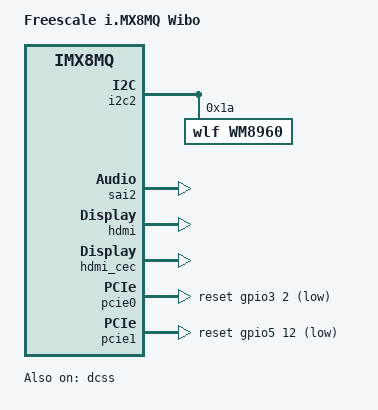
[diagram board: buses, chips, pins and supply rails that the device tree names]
/*
 * Copyright 2018 NXP
 *
 * This program is free software; you can redistribute it and/or
 * modify it under the terms of the GNU General Public License
 * as published by the Free Software Foundation; either version 2
 * of the License, or (at your option) any later version.
 *
 * This program is distributed in the hope that it will be useful,
 * but WITHOUT ANY WARRANTY; without even the implied warranty of
 * MERCHANTABILITY or FITNESS FOR A PARTICULAR PURPOSE.  See the
 * GNU General Public License for more details.
 */

#include "fsl-imx8mq-som.dtsi"

/ {
	firmware {
		android {
			compatible = "android,firmware";
			fstab {
				compatible = "android,fstab";
				vendor {
					compatible = "android,vendor";
					/* if sd, then dev = "/dev/block/platform/30b50000.usdhc/by-name/vendor"; */
					dev = "/dev/block/platform/30b40000.usdhc/by-name/vendor";
					type = "ext4";
					mnt_flags = "ro,barrier=1,inode_readahead_blks=8";
					fsmgr_flags = "wait,slotselect,avb";
				};
			};
			vbmeta {
				/*we need use FirstStageMountVBootV2 if we enable avb*/
				compatible = "android,vbmeta";
				/*parts means the partition witch can be mount in first stage*/
				parts = "vbmeta,boot,system,vendor";
			};
		};
	};
};

/ {
	model = "Freescale i.MX8MQ Wibo";
	compatible = "fsl,imx8mq-wibo", "fsl,imx8mq";

	sound: sound {
		compatible = "fsl,imx7d-evk-wm8960",
				"fsl,imx-audio-wm8960";
	model = "wm8960-audio";
	cpu-dai = <&sai2>;
	audio-codec = <&wm8960>;
	codec-master;
	/*
	 * hp-det = <hp-det-pin hp-det-polarity>;
	 * hp-det-pin: JD1 JD2  or JD3
	 * hp-det-polarity = 0: hp detect high for headphone
	 * hp-det-polarity = 1: hp detect high for speaker
	 */
	hp-det = <2 0>;
	audio-routing =
		"Headphone Jack", "HP_L",
		"Headphone Jack", "HP_R",
		"Ext Spk", "SPK_LP",
		"Ext Spk", "SPK_LN",
		"Ext Spk", "SPK_RP",
		"Ext Spk", "SPK_RN",
		"LINPUT2", "Mic Jack",
		"LINPUT3", "Mic Jack",
		"RINPUT1", "Main MIC",
		"RINPUT2", "Main MIC",
		"Mic Jack", "MICB",
		"Main MIC", "MICB",
		"Playback", "CPU-Playback",
		"CPU-Capture", "Capture";
	};
};

&i2c2 {
  status = "okay";

	wm8960: wm8960@1a {
		compatible = "wlf,wm8960";
		reg = <0x1a>;
		status = "okay";
		clocks = <&clk IMX8MQ_CLK_SAI2_ROOT>;
		clock-names = "mclk";
		wlf,shared-lrclk;
	};
};

&sai2 {
	pinctrl-names = "default";
	pinctrl-0 = <&pinctrl_sai2>;
	assigned-clocks = <&clk IMX8MQ_CLK_SAI2_SRC>,
			<&clk IMX8MQ_CLK_SAI2_DIV>;
	assigned-clock-parents = <&clk IMX8MQ_AUDIO_PLL1_OUT>;
	assigned-clock-rates = <0>, <24576000>;
	status = "okay";
};

&iomuxc {
	pinctrl-names = "default";
	pinctrl-0 = <&pinctrl_hog>;

	imx8mq-evk {
		pinctrl_sai2: sai2grp {
			fsl,pins = <
				MX8MQ_IOMUXC_SAI2_TXFS_SAI2_TX_SYNC	0xd6
				MX8MQ_IOMUXC_SAI2_TXC_SAI2_TX_BCLK	0xd6
				MX8MQ_IOMUXC_SAI2_MCLK_SAI2_MCLK	0xd6
				MX8MQ_IOMUXC_SAI2_TXD0_SAI2_TX_DATA0	0xd6
				MX8MQ_IOMUXC_SAI2_RXD0_SAI2_RX_DATA0	0xd6
			>;
		};
		pinctrl_pcie0_wibo: pcie0grp_wibo {
			fsl,pins = <
				MX8MQ_IOMUXC_NAND_CE3_B_GPIO3_IO4       0x16 /* Disable - wl_regon */
				MX8MQ_IOMUXC_NAND_CE1_B_GPIO3_IO2       0x16 /* Reset */
				MX8MQ_IOMUXC_NAND_DATA00_GPIO3_IO6      0x19
			>;
		};
		pinctrl_pcie1_wibo: pcie1grp_wibo{
			fsl,pins = <
				MX8MQ_IOMUXC_I2C4_SDA_GPIO5_IO21	0x16 /* PCIE2_nCLKREQ */
				MX8MQ_IOMUXC_ECSPI2_MOSI_GPIO5_IO11	0x16 /* PCIe_nWAKE */
				MX8MQ_IOMUXC_ECSPI2_MISO_GPIO5_IO12	0x16 /* PCIe_nRST */
				MX8MQ_IOMUXC_ECSPI2_SCLK_GPIO5_IO10	0x16
			>;
		};
	};
};

&hdmi {
	status = "okay";
};

&hdmi_cec {
	status = "okay";
};

&dcss {
	disp-dev = "hdmi_disp";
	status = "okay";
};

&pcie0 {
	pinctrl-names = "default";
	pinctrl-0 = <&pinctrl_pcie0_wibo>;
	disable-gpio = <&gpio3 4 GPIO_ACTIVE_LOW>;
	reset-gpio = <&gpio3 2 GPIO_ACTIVE_LOW>;
	status = "okay";
};

&pcie1 {
	pinctrl-names = "default";
	pinctrl-0 = <&pinctrl_pcie1_wibo>;
	clkreq-gpio = <&gpio5 21 GPIO_ACTIVE_LOW>;
	power-on-gpio = <&gpio5 10 GPIO_ACTIVE_HIGH>;
	reset-gpio = <&gpio5 12 GPIO_ACTIVE_LOW>;
	ext_osc = <1>;
	status = "okay";
};
